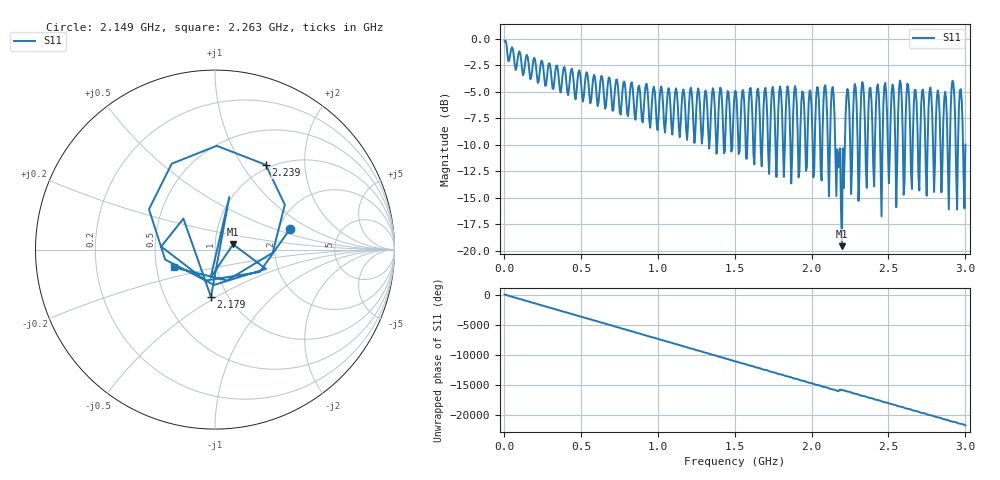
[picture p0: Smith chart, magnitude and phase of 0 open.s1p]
! NanoVNA-App by SYSJOINT et al v1.1.209 (+OD18)
! Date: 2025-09-17 09:44:52
! Start: 1MHz Stop: 3.001GHz Points: 501
! S-Parameter data: F S11
# Hz S RI R 50
!  Frequency  S11_Real  S11_Imag
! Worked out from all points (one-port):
!   501 points, 1 MHz to 3.001 GHz, reference 50 ohm
!   lowest |S11| = -19.6 dB at 2.197 GHz (marker M1), VSWR 1.23, Z = 61.1 + j3.62 ohm
!   |S11| at or under -10 dB: 2.105 GHz to 2.119 GHz (14.28 MHz wide, 0.676 % of centre); 2.153 GHz to 2.217 GHz (63.3 MHz wide, 2.9 % of centre); 2.446 GHz to 2.461 GHz (14.89 MHz wide, 0.607 % of centre) (the widest 3 of 34)
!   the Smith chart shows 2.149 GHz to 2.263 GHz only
!   S11 on the Smith chart (normalised r, x): 2.149 GHz: 2.30, +0.64; 2.179 GHz: 0.83, -0.47; 2.239 GHz: 0.94, +1.28; 2.263 GHz: 0.62, -0.13
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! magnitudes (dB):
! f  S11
! 1 MHz  -0.3
! 379 MHz  -3.4
! 751 MHz  -7.0
! 1.129 GHz  -6.4
! 1.501 GHz  -4.9
! 1.879 GHz  -7.3
! 2.149 GHz  -7.3
! 2.179 GHz  -11.6
! 2.197 GHz  -19.6
! 2.239 GHz  -5.2
! 2.251 GHz  -9.8
! 2.263 GHz  -12.0
! 2.281 GHz  -4.3
! 2.305 GHz  -15.3
! 2.431 GHz  -4.3
! 2.455 GHz  -16.8
! 2.479 GHz  -4.2
! 2.551 GHz  -15.9
! 2.575 GHz  -4.0
! 2.599 GHz  -14.7
! 2.629 GHz  -4.4
! 2.647 GHz  -12.7
! 2.725 GHz  -4.8
! 2.749 GHz  -14.8
! 2.773 GHz  -4.6
! 2.893 GHz  -16.1
! 2.917 GHz  -4.0
! 3.001 GHz  -10.0
